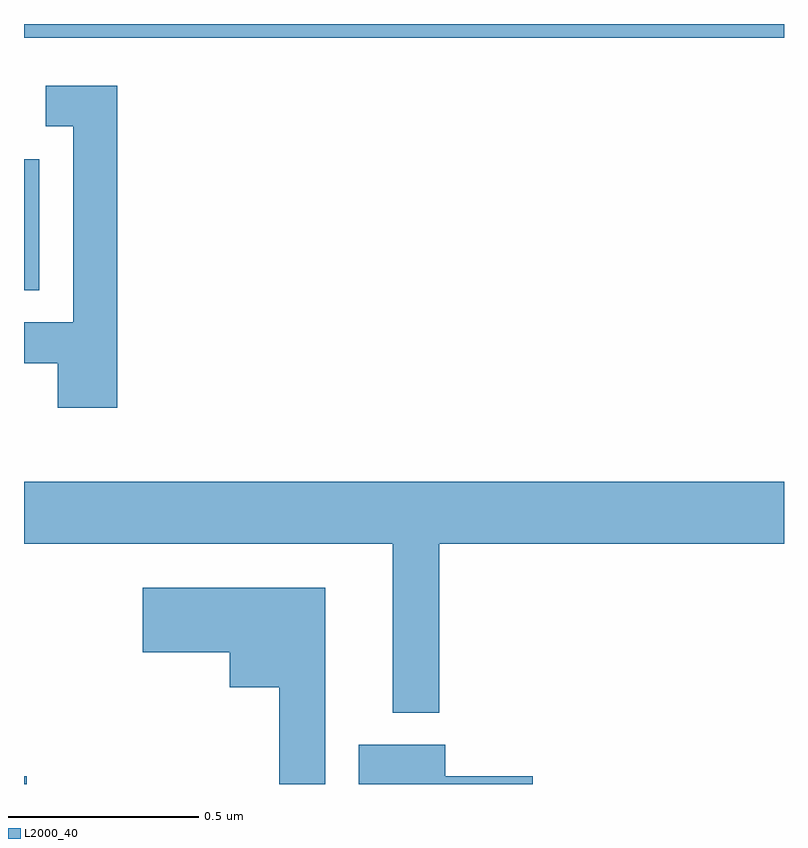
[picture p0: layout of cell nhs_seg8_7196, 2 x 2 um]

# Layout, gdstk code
import gdstk
lib = gdstk.Library(unit=1e-6, precision=1e-09)
def R(c, l, rs):  # rectangles x0, y0, x1, y1
    for r in rs: c.add(gdstk.rectangle(r[:2], r[2:], *l))
def P(c, l, *ps):  # polygons
    for p in ps: c.add(gdstk.Polygon(p, *l))
L2000_40 = (2000, 40)

nhs_seg8_7196 = lib.new_cell('nhs_seg8_7196')
R(nhs_seg8_7196, L2000_40, [(207,1083.9,207.007,1083.92), (207,1085.2,207.04,1085.544), (207,1085.864,209,1085.9)])
P(nhs_seg8_7196, L2000_40, [(207.245,1085.737),(207.057,1085.737),(207.057,1085.631),(207.129,1085.631),(207.129,1085.115),(207,1085.115),(207,1085.007),(207.089,1085.007),(207.089,1084.89),(207.245,1084.89)],
  [(208.093,1084.532),(209,1084.532),(209,1084.696),(207,1084.696),(207,1084.532),(207.971,1084.532),(207.971,1084.088),(208.093,1084.088)],
  [(207.793,1084.417),(207.312,1084.417),(207.312,1084.247),(207.542,1084.247),(207.542,1084.154),(207.672,1084.154),(207.672,1083.9),(207.793,1083.9)],
  [(208.339,1083.92),(208.108,1083.92),(208.108,1084.003),(207.881,1084.003),(207.881,1083.9),(208.339,1083.9)])

lib.write_gds('nhs_seg8_7196.gds')
